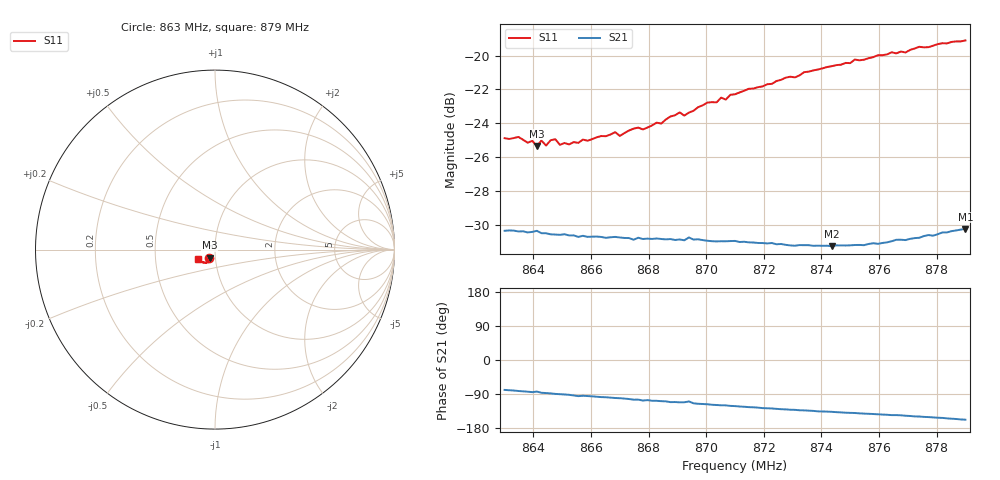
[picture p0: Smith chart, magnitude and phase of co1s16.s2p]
# HZ S RI R 50
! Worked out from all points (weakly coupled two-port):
!   101 points, 863 MHz to 879 MHz, reference 50 ohm
!   highest |S21| = -30.23 dB at 879 MHz (marker M1); lowest = -31.2 dB at 874.36 MHz (marker M2)
!   lowest |S11| = -25.3 dB at 864.12 MHz (marker M3), VSWR 1.11, Z = 46.9 - j4.26 ohm
!   |S11| at or under -10 dB: start of sweep to end of sweep
!   S12 and S22 are empty: the file has one direction only
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8.63e8  -0.0354 -0.0447  0.00582 -0.0298  0 0  0 0
8.6348e8  -0.0349 -0.0457  0.00431 -0.03  0 0  0 0
8.6396e8  -0.0372 -0.0419  0.00274 -0.0301  0 0  0 0
8.6412e8  -0.0296 -0.0453  0.00356 -0.0302  0 0  0 0
8.6428e8  -0.0303 -0.0473  0.0018 -0.0299  0 0  0 0
8.6444e8  -0.0294 -0.0456  0.00147 -0.0299  0 0  0 0
8.6476e8  -0.0306 -0.0476  0.000267 -0.0296  0 0  0 0
8.6492e8  -0.029 -0.0462  -0.000114 -0.0296  0 0  0 0
8.6572e8  -0.027 -0.0497  -0.00228 -0.0293  0 0  0 0
8.6684e8  -0.0268 -0.053  -0.00521 -0.0287  0 0  0 0
8.67e8  -0.0252 -0.0521  -0.00544 -0.0285  0 0  0 0
8.6748e8  -0.0248 -0.0556  -0.00725 -0.0277  0 0  0 0
8.6844e8  -0.0256 -0.0576  -0.00919 -0.0272  0 0  0 0
8.6908e8  -0.029 -0.0615  -0.0106 -0.0266  0 0  0 0
8.6924e8  -0.0266 -0.061  -0.0105 -0.0265  0 0  0 0
8.694e8  -0.0269 -0.0623  -0.00964 -0.0274  0 0  0 0
8.7004e8  -0.0307 -0.0659  -0.0128 -0.0254  0 0  0 0
8.71e8  -0.0349 -0.0685  -0.0149 -0.0242  0 0  0 0
8.7372e8  -0.0526 -0.0735  -0.0192 -0.0196  0 0  0 0
8.7436e8  -0.0579 -0.0729  -0.02 -0.0188  0 0  0 0
8.7644e8  -0.0765 -0.0679  -0.0233 -0.0161  0 0  0 0
8.79e8  -0.0974 -0.0529  -0.0285 -0.0118  0 0  0 0
